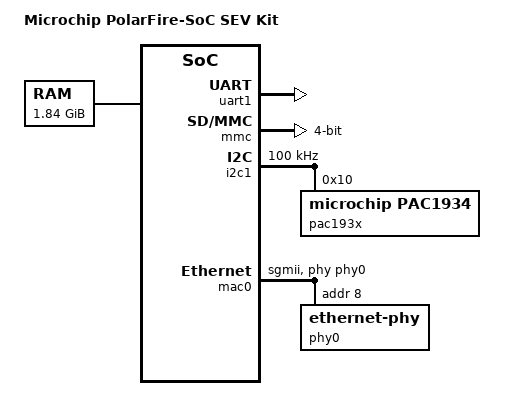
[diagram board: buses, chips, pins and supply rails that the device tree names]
// SPDX-License-Identifier: (GPL-2.0+ OR MIT)
/*
 * Copyright (C) 2021 Microchip Technology Inc.
 * vattipalli praveen <praveen.kumar@microchip.com>
 */

/dts-v1/;

#include "microchip-mpfs.dtsi"

/* Clock frequency (in Hz) of the rtcclk */
#define RTCCLK_FREQ		1000000

/ {
	model = "Microchip PolarFire-SoC SEV Kit";
	compatible = "microchip,mpfs-sev-kit", "microchip,mpfs";

	aliases {
		serial1 = &uart1;
		ethernet0 = &mac0;
	};

	chosen {
		stdout-path = "serial1";
	};

	cpus {
		timebase-frequency = <RTCCLK_FREQ>;
	};

	ddrc_cache: memory@1000000000 {
		device_type = "memory";
		reg = <0x10 0x0 0x0 0x76000000>;
		clocks = <&clkcfg CLK_DDRC>;
		status = "okay";
	};
};

&refclk {
	clock-frequency = <125000000>;
};

&uart1 {
	status = "okay";
};

&mmc {
	status = "okay";

	bus-width = <4>;
	disable-wp;
	cap-mmc-highspeed;
	cap-sd-highspeed;
	card-detect-delay = <200>;
	mmc-ddr-1_8v;
	mmc-hs200-1_8v;
	sd-uhs-sdr12;
	sd-uhs-sdr25;
	sd-uhs-sdr50;
	sd-uhs-sdr104;
};

&i2c1 {
	status = "okay";
	clock-frequency = <100000>;

	pac193x: pac193x@10 {
		compatible = "microchip,pac1934";
		reg = <0x10>;
		samp-rate = <64>;
		status = "okay";
		ch1: channel0 {
			uohms-shunt-res = <10000>;
			rail-name = "VDDREG";
			channel_enabled;
		};
		ch2: channel1 {
			uohms-shunt-res = <10000>;
			rail-name = "VDDA25";
			channel_enabled;
		};
		ch3: channel2 {
			uohms-shunt-res = <10000>;
			rail-name = "VDD25";
			channel_enabled;
		};
		ch4: channel3 {
			uohms-shunt-res = <10000>;
			rail-name = "VDDA_REG";
			channel_enabled;
		};
	};
};

&mac0 {
	status = "okay";
	phy-mode = "sgmii";
	phy-handle = <&phy0>;
	phy0: ethernet-phy@8 {
		reg = <8>;
	};
};
